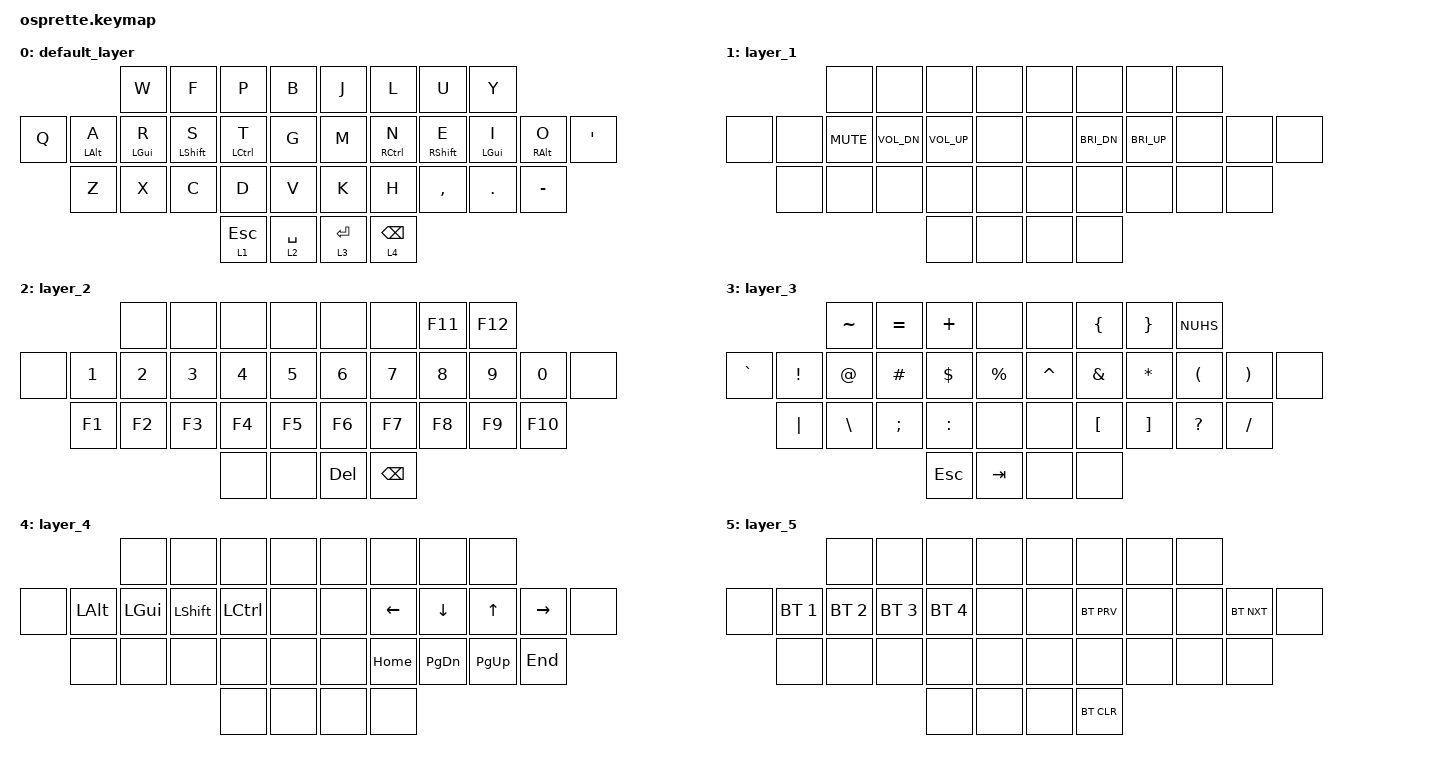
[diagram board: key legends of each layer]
#include <behaviors.dtsi>
#include <dt-bindings/zmk/keys.h>
#include <dt-bindings/zmk/bt.h>

/ {
    behaviors {
        hm: homerow_mods {
            compatible = "zmk,behavior-hold-tap";
            label = "HOMEROW_MODS";
            #binding-cells = <2>;
            tapping-term-ms = <200>;
            quick_tap_ms = <0>;
            flavor = "tap-preferred";
            bindings = <&kp>, <&kp>;
        };
    };
    
    combos {
        compatible = "zmk,combos";

        combo_bt {
            timeout-ms = <100>;
            key-positions = <8 19>;
            bindings = <&tog 5>;
        };
    };

    keymap {
        compatible = "zmk,keymap";

        default_layer {
            bindings = <
                            &kp W      &kp F        &kp P        &kp B            &kp J       &kp L       &kp U        &kp Y
          &kp Q &hm LALT A  &hm LGUI R &hm LSHIFT S &hm LCTRL T  &kp G            &kp M       &hm RCTRL N &hm RSHIFT E &hm LGUI I &hm RALT O &kp SQT
                &kp Z       &kp X      &kp C        &kp D        &kp V            &kp K       &kp H       &kp COMMA    &kp DOT    &kp MINUS
                                                    &lt 1 ESC    &lt 2 SPACE      &lt 3 RET &lt 4 BSPC
            >;
        };
        
        layer_1 {
            bindings = <
                          &none      &none        &none        &none    &none &none        &none        &none
              &none &none &kp C_MUTE &kp C_VOL_DN &kp C_VOL_UP &none    &none &kp C_BRI_DN &kp C_BRI_UP &none &none &none
                    &none &none      &none        &none        &none    &none &none        &none        &none &none
                                                               &none    &none &none        &none
            >;
        };

        layer_2 {
            bindings = <
                           &none  &none  &none  &none    &none   &none    &kp F11 &kp F12
              &none &kp N1 &kp N2 &kp N3 &kp N4 &kp N5   &kp N6  &kp N7   &kp N8  &kp N9  &kp N0  &none
                    &kp F1 &kp F2 &kp F3 &kp F4 &kp F5   &kp F6  &kp F7   &kp F8  &kp F9  &kp F10
                                         &none  &none    &kp DEL &kp BSPC
            >;
        };

        layer_3 {
            bindings = <
                                 &kp TILDE &kp EQUAL &kp PLUS  &none      &none     &kp LBRC &kp RBRC &kp NUHS
              &kp GRAVE &kp EXCL &kp AT    &kp HASH  &kp DLLR  &kp PRCNT  &kp CARET &kp AMPS &kp STAR &kp LPAR  &kp RPAR &none
                        &kp PIPE &kp BSLH  &kp SEMI  &kp COLON &none      &none     &kp LBKT &kp RBKT &kp QMARK &kp FSLH
                                                     &kp ESC   &kp TAB    &none     &none
            >;
        };
        
        layer_4 {
            bindings = <
                             &none    &none      &none      &none   &none &none    &none     &none
              &none &kp LALT &kp LGUI &kp LSHIFT &kp LCTRL  &none   &none &kp LEFT &kp DOWN  &kp UP    &kp RIGHT &none
                    &none    &none    &none      &none      &none   &none &kp HOME &kp PG_DN &kp PG_UP &kp END
                                                 &none      &none   &none &none
            >;
        };
        
        layer_5 {
            bindings = <
                                 &none        &none        &none        &none   &none &none      &none &none
              &none &bt BT_SEL 1 &bt BT_SEL 2 &bt BT_SEL 3 &bt BT_SEL 4 &none   &none &bt BT_PRV &none &none &bt BT_NXT &none
                    &none        &none        &none        &none        &none   &none &none      &none &none &none
                                                           &none        &none   &none &bt BT_CLR
            >;
        };
    };
};
